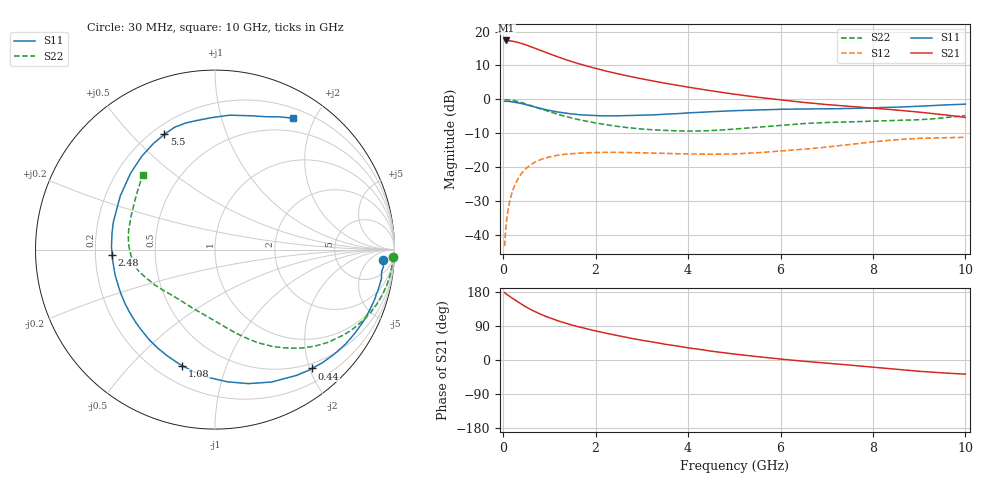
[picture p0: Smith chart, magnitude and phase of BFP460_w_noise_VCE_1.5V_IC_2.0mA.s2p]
! (c) 2016  Infineon Technologies AG, Munich
! Infineon Technologies  Discrete & RF Semiconductors
! BFP460
! VCE =  1.5 V,  IC =  2.0 mA
! Common Emitter S-Parameters:  Jan 2016
# GHz  S  MA  R  50
!  f  S11  S21  S12  S22
! GHz  MAG  ANG  MAG  ANG  MAG  ANG  MAG  ANG
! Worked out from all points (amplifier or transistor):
!   229 points, 30 MHz to 10 GHz, reference 50 ohm
!   highest |S21| = 17.4 dB at 70 MHz (marker M1)
!   |S21| within 3 dB of that: start of sweep to 821.3 MHz
!   unconditionally stable (mu >= 1): 3.834 GHz to 8.807 GHz
!   at 280 MHz: K = 0.09, MSG = 20.7 dB, |S12| = -24.4 dB
!   at 1.78 GHz: K = 0.52, MSG = 12.8 dB, |S12| = -15.7 dB
!   at 10 GHz: K = 0.97, MSG = 2.9 dB, |S12| = -11.2 dB
!   lowest NFmin = 0.68 dB at 450 MHz
!   S11 on the Smith chart (normalised r, x): 30 MHz: 15, -16; 440 MHz: 0.41, -2.04; 1.08 GHz: 0.30, -0.71; 2.48 GHz: 0.27, -0.02; 5.5 GHz: 0.25, +0.62; 10 GHz: 0.32, +1.72
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0.03  0.9404 -3.7  7.367 177.8  0.0069 88.4  0.9933 -2.3
0.05  0.9435 -5.8  7.329 175.1  0.0113 86.9  0.992 -3.7
0.07  0.9373 -8.5  7.386 173.5  0.0159 84.2  0.9904 -5.3
0.14  0.9325 -17.0  7.316 167.8  0.0316 79.7  0.9805 -10.5
0.26  0.9071 -31.1  7.072 157.7  0.0565 71.2  0.9496 -19.1
0.34  0.8863 -40.1  6.854 151.3  0.0716 66.1  0.9216 -24.4
0.44  0.8547 -50.8  6.533 143.8  0.0882 59.9  0.8819 -30.6
0.6  0.8022 -66.9  5.986 132.8  0.1099 51.5  0.8144 -39.4
0.7  0.7695 -76.0  5.637 126.7  0.1206 46.8  0.7716 -44.3
0.9  0.714 -92.6  4.995 116.1  0.1366 39.0  0.6935 -52.4
1.08  0.6718 -105.8  4.489 107.8  0.1465 33.4  0.6341 -58.5
1.4  0.6215 -126.3  3.765 95.3  0.1574 25.6  0.5506 -67.4
1.7  0.5922 -142.6  3.256 85.4  0.1627 20.3  0.4934 -74.0
2  0.5773 -157.1  2.861 76.7  0.1652 16.2  0.4505 -80.1
2.48  0.5738 -177.0  2.384 64.2  0.166 11.4  0.4003 -89.4
3.4  0.5997 153.2  1.784 43.9  0.161 6.5  0.3523 -108.1
4.2  0.6422 134.0  1.442 28.8  0.1568 6.3  0.3426 -125.4
5.1  0.6861 118.9  1.17 14.4  0.1587 9.3  0.3698 -143.1
5.5  0.7016 113.7  1.077 8.8  0.1638 11.0  0.3879 -149.3
6.8  0.7248 99.7  0.865 -6.3  0.193 13.0  0.4506 -166.9
8.4  0.7652 77.4  0.708 -23.6  0.2515 7.1  0.4893 170.9
10  0.8514 59.1  0.544 -37.3  0.2764 -4.2  0.5803 134.0
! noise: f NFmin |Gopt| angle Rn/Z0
0.45  0.68  0.58  19  0.26
0.9  0.74  0.54  38  0.26
1.9  1.17  0.35  94  0.17
3.5  1.69  0.37  -166  0.13
